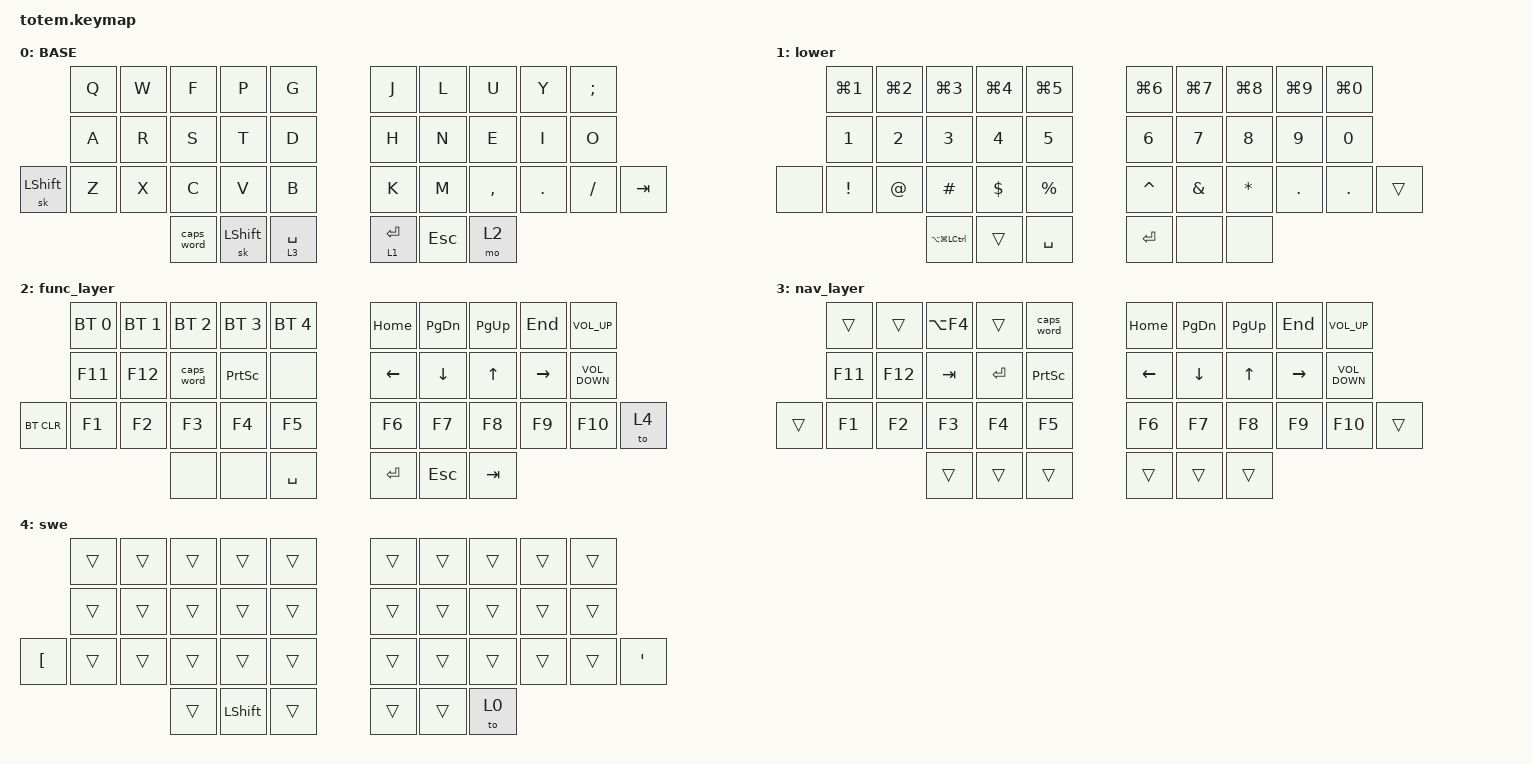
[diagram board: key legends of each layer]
//
//                                                        ▀▀▀▀▀     ▀▀▀▀▀          ▀▀█▀▀
//                                                        ▄▀▀▀▄  ▄  ▄▀▀▀▄  ▄  ▄▀▀▀▄  █  ▄▀▀▀▄
//                                                        █   █  █  █   █  █  █   █  █  █   █
//                                                         ▀▀▀   █   ▀▀▀   █   ▀▀▀   ▀   ▀▀▀
//                                                               █      ▄▄▄█▄▄▄    █   █  
//                                                               ▀      █  █  █     █▄█
//                                                             ▀▀▀▀▀    █  █  █      ▀
//                                                                      ▀  ▀  ▀
//
// ▄▄▄▄▄▄▄▄▄▄▄▄▄▄▄▄▄▄▄▄▄▄▄▄▄▄▄▄▄▄▄▄▄▄▄▄▄▄▄▄▄▄▄▄▄▄▄▄▄▄▄▄▄▄▄▄▄▄▄▄▄▄▄▄▄▄▄▄▄▄▄▄▄▄▄▄▄▄▄▄▄▄▄▄▄▄▄▄▄▄▄▄▄▄▄▄▄▄▄▄▄▄▄▄▄▄▄▄▄▄▄▄▄▄▄▄▄▄▄▄▄▄▄▄▄▄▄▄▄▄▄▄▄▄▄▄▄▄▄▄▄▄▄▄▄▄▄▄▄

#include <behaviors.dtsi>
#include <dt-bindings/zmk/bt.h>
#include <dt-bindings/zmk/keys.h>

#define BASE 0
#define NAV  1
#define SYM  2
#define ADJ  3
#define TVP1 4
#define TVP2 5

&mt {
    quick-tap-ms = <100>;
    global-quick-tap;
    flavor = "tap-preferred";
    tapping-term-ms = <170>;
};

&sk { quick-release; };

/ {
    combos {
        compatible = "zmk,combos";

        right_ctrl {
            bindings = <&sk RCTRL>;
            key-positions = <16 17>;
            require-prior-idle-ms = <200>;
        };

        right_gui {
            bindings = <&kp RIGHT_GUI>;
            key-positions = <17 18>;
            require-prior-idle-ms = <200>;
        };

        right_alt {
            bindings = <&kp RIGHT_ALT>;
            key-positions = <18 19>;
            require-prior-idle-ms = <200>;
        };

        backspace {
            bindings = <&kp BACKSPACE>;
            key-positions = <16 18>;
            require-prior-idle-ms = <150>;
        };

        left_control {
            bindings = <&sk LCTRL>;
            key-positions = <13 12>;
            require-prior-idle-ms = <200>;
        };

        left_gui {
            bindings = <&kp LEFT_GUI>;
            key-positions = <11 12>;
            require-prior-idle-ms = <200>;
        };

        left_alt {
            bindings = <&kp LEFT_ALT>;
            key-positions = <10 11>;
            require-prior-idle-ms = <200>;
        };

        delete {
            bindings = <&kp DELETE>;
            key-positions = <11 13>;
            require-prior-idle-ms = <200>;
        };

        sweChar1 {
            bindings = <&kp SQT>;
            key-positions = <22 23>;
        };

        sweChar2 {
            bindings = <&kp LEFT_BRACKET>;
            key-positions = <24 23>;
            require-prior-idle-ms = <0>;
        };

        rightBracket {
            bindings = <&kp RIGHT_BRACKET>;
            key-positions = <27 28>;
            require-prior-idle-ms = <200>;
        };

        minus {
            bindings = <&kp MINUS>;
            key-positions = <28 29>;
            require-prior-idle-ms = <20>;
        };

        left_bracket {
            bindings = <&kp LEFT_PARENTHESIS>;
            key-positions = <22 24>;
            require-prior-idle-ms = <0>;
        };

        right_parantheses {
            bindings = <&kp LS(RIGHT_PARENTHESIS)>;
            key-positions = <29 27>;
            require-prior-idle-ms = <200>;
        };

        left_brace {
            bindings = <&kp LEFT_BRACE>;
            key-positions = <24 12>;
        };

        right_brace {
            bindings = <&kp RIGHT_BRACE>;
            key-positions = <27 17>;
            require-prior-idle-ms = <200>;
        };

        equal {
            bindings = <&kp EQUAL>;
            key-positions = <22 12>;
            require-prior-idle-ms = <200>;
        };

        backslash {
            bindings = <&kp BACKSLASH>;
            key-positions = <17 29>;
            require-prior-idle-ms = <200>;
        };

        graveTilde {
            bindings = <&kp GRAVE>;
            key-positions = <29 30>;
            require-prior-idle-ms = <200>;
        };

        quote {
            bindings = <&kp DOUBLE_QUOTES>;
            key-positions = <1 2>;
            require-prior-idle-ms = <200>;
        };

        underscore {
            bindings = <&kp UNDERSCORE>;
            key-positions = <7 8>;
            require-prior-idle-ms = <50>;
        };

        tab {
            bindings = <&kp TAB>;
            key-positions = <2 3>;
            require-prior-idle-ms = <200>;
        };
    };

    macros {
        gif: gif {
            label = "giphy";
            compatible = "zmk,behavior-macro";
            #binding-cells = <0>;
            bindings =
                <&macro_press>,
                <&kp LSHFT>,
                <&macro_tap>,
                <&kp N2>,
                <&macro_release>,
                <&kp LSHFT>,
                <&macro_tap>,
                <&kp G &kp I &kp F>;
        };
    };

    behaviors {
        shiftCapsWord: shiftCapsWord {
            compatible = "zmk,behavior-tap-dance";
            label = "SHIFTCAPSWORD";
            #binding-cells = <0>;
            bindings = <&sk LEFT_SHIFT>, <&caps_word>;
        };

        navEnter: navEnter {
            compatible = "zmk,behavior-hold-tap";
            label = "NAVENTER";
            bindings = <&mo>, <&kp>;

            #binding-cells = <2>;
            tapping-term-ms = <500>;
            retro-tap;
        };

        urubLayerTap: urubLayerTap {
            compatible = "zmk,behavior-hold-tap";
            label = "URUBLAYERTAP";
            bindings = <&mo>, <&kp>;

            #binding-cells = <2>;
            tapping-term-ms = <250>;
            require-prior-idle-ms = <150>;
            flavor = "balanced";
        };

        tapDanceShift: tapDanceShift {
            compatible = "zmk,behavior-tap-dance";
            label = "TAPDANCESHIFT";
            #binding-cells = <0>;
            bindings = <&sk LEFT_SHIFT>, <&caps_word>;
        };

        shift_tab: shift_tab {
            compatible = "zmk,behavior-hold-tap";
            label = "SHIFT_TAB";
            bindings = <&kp>, <&kp>;

            #binding-cells = <2>;
            tapping-term-ms = <150>;
        };
    };

    keymap {
        compatible = "zmk,keymap";

        // ▄▄▄▄▄▄▄▄▄▄▄▄▄▄▄▄▄▄▄▄▄▄▄▄▄▄▄▄▄▄▄▄▄▄▄▄▄▄▄▄▄▄▄▄▄▄▄▄▄▄▄▄▄▄▄▄▄▄▄▄▄▄▄▄▄▄▄▄▄▄▄▄▄▄▄▄▄▄▄▄▄▄▄▄▄▄▄▄▄▄▄▄▄▄▄▄▄▄▄▄▄▄▄▄▄▄▄▄▄▄▄▄▄▄▄▄▄▄▄▄▄▄▄▄▄▄▄▄▄▄▄▄▄▄▄▄▄▄▄▄▄▄▄▄▄▄▄▄▄

        base_layer {
            // ┏━━━━━━━━━━━━━━━━━━━━━━━━━━━━━━━━━━━━━━━┓

            label = "BASE";

            // ┗━━━━━━━━━━━━━━━━━━━━━━━━━━━━━━━━━━━━━━━┛
            //             ┏━━━━━━━━━━━┳━━━━━━━━━━━┳━━━━━━━━━━━┳━━━━━━━━━━━┳━━━━━━━━━━━┓   ┏━━━━━━━━━━━┳━━━━━━━━━━━┳━━━━━━━━━━━┳━━━━━━━━━━━┳━━━━━━━━━━━┓
            //             ┃     Q     ┃     W     ┃     F     ┃     P     ┃     G     ┃   ┃     J     ┃     L     ┃     U     ┃     Y     ┃     ;     ┃
            //             ┣━━━━━━━━━━━╋━━━━━━━━━━━╋━━━━━━━━━━━╋━━━━━━━━━━━╋━━━━━━━━━━━┫   ┣━━━━━━━━━━━╋━━━━━━━━━━━╋━━━━━━━━━━━╋━━━━━━━━━━━╋━━━━━━━━━━━┫
            //             ┃     A     ┃     R     ┃     S     ┃     T     ┃     D     ┃   ┃     H     ┃     N     ┃     E     ┃     I     ┃     O     ┃
            // ┏━━━━━━━━━━━╋━━━━━━━━━━━╋━━━━━━━━━━━╋━━━━━━━━━━━╋━━━━━━━━━━━╋━━━━━━━━━━━┫   ┣━━━━━━━━━━━╋━━━━━━━━━━━╋━━━━━━━━━━━╋━━━━━━━━━━━╋━━━━━━━━━━━╋━━━━━━━━━━━┓
            // ┃     Q     ┃     Z     ┃     X     ┃     C     ┃     V     ┃     B     ┃   ┃     K     ┃     M     ┃     ,     ┃     .     ┃     /     ┃     \     ┃
            // ┗━━━━━━━━━━━┻━━━━━━━━━━━┻━━━━━━━━━━━╋━━━━━━━━━━━╋━━━━━━━━━━━╋━━━━━━━━━━━┫   ┣━━━━━━━━━━━╋━━━━━━━━━━━╋━━━━━━━━━━━╋━━━━━━━━━━━┻━━━━━━━━━━━┻━━━━━━━━━━━┛
            //                                     ┃    DEL    ┃    TAB    ┃    SPC    ┃   ┃   ENTER   ┃           ┃   BSPC    ┃
            //                                     ┗━━━━━━━━━━━┻━━━━━━━━━━━┻━━━━━━━━━━━┛   ┗━━━━━━━━━━━┻━━━━━━━━━━━┻━━━━━━━━━━━┛

            bindings = <
                &kp Q  &kp W  &kp F       &kp P           &kp G                    &kp J              &kp L       &kp U      &kp Y    &kp SEMI
                &kp A  &kp R  &kp S       &kp T           &kp D                    &kp H              &kp N       &kp E      &kp I    &kp O
&sk LEFT_SHIFT  &kp Z  &kp X  &kp C       &kp V           &kp B                    &kp K              &kp M       &kp COMMA  &kp DOT  &kp FSLH  &kp TAB
                              &caps_word  &sk LEFT_SHIFT  &urubLayerTap 3 SPACE    &navEnter 1 ENTER  &kp ESCAPE  &mo 2
            >;
        };

        // ▄▄▄▄▄▄▄▄▄▄▄▄▄▄▄▄▄▄▄▄▄▄▄▄▄▄▄▄▄▄▄▄▄▄▄▄▄▄▄▄▄▄▄▄▄▄▄▄▄▄▄▄▄▄▄▄▄▄▄▄▄▄▄▄▄▄▄▄▄▄▄▄▄▄▄▄▄▄▄▄▄▄▄▄▄▄▄▄▄▄▄▄▄▄▄▄▄▄▄▄▄▄▄▄▄▄▄▄▄▄▄▄▄▄▄▄▄▄▄▄▄▄▄▄▄▄▄▄▄▄▄▄▄▄▄▄▄▄▄▄▄▄▄▄▄▄▄▄▄

        number_layer {
            label = "lower";
            bindings = <
       &kp LG(NUMBER_1)  &kp LG(N2)    &kp LG(N3)                &kp LG(N4)    &kp LG(N5)      &kp LG(N6)    &kp LG(N7)     &kp LG(N8)    &kp LG(N9)    &kp LG(N0)
       &kp NUMBER_1      &kp NUMBER_2  &kp NUMBER_3              &kp NUMBER_4  &kp NUMBER_5    &kp NUMBER_6  &kp NUMBER_7   &kp NUMBER_8  &kp NUMBER_9  &kp NUMBER_0
&none  &kp EXCLAMATION   &kp AT        &kp HASH                  &kp DOLLAR    &kp PERCENT     &kp CARET     &kp AMPERSAND  &kp ASTERISK  &kp PERIOD    &kp PERIOD    &trans
                                       &kp LA(LG(LEFT_CONTROL))  &trans        &kp SPACE       &kp RET       &none          &none
            >;
        };

        // ▄▄▄▄▄▄▄▄▄▄▄▄▄▄▄▄▄▄▄▄▄▄▄▄▄▄▄▄▄▄▄▄▄▄▄▄▄▄▄▄▄▄▄▄▄▄▄▄▄▄▄▄▄▄▄▄▄▄▄▄▄▄▄▄▄▄▄▄▄▄▄▄▄▄▄▄▄▄▄▄▄▄▄▄▄▄▄▄▄▄▄▄▄▄▄▄▄▄▄▄▄▄▄▄▄▄▄▄▄▄▄▄▄▄▄▄▄▄▄▄▄▄▄▄▄▄▄▄▄▄▄▄▄▄▄▄▄▄▄▄▄▄▄▄▄▄▄▄▄
        // ▄▄▄▄▄▄▄▄▄▄▄▄▄▄▄▄▄▄▄▄▄▄▄▄▄▄▄▄▄▄▄▄▄▄▄▄▄▄▄▄▄▄▄▄▄▄▄▄▄▄▄▄▄▄▄▄▄▄▄▄▄▄▄▄▄▄▄▄▄▄▄▄▄▄▄▄▄▄▄▄▄▄▄▄▄▄▄▄▄▄▄▄▄▄▄▄▄▄▄▄▄▄▄▄▄▄▄▄▄▄▄▄▄▄▄▄▄▄▄▄▄▄▄▄▄▄▄▄▄▄▄▄▄▄▄▄▄▄▄▄▄▄▄▄▄▄▄▄▄

        func_layer {
            label = "func_layer";
            bindings = <
            &bt BT_SEL 0  &bt BT_SEL 1  &bt BT_SEL 2  &bt BT_SEL 3     &bt BT_SEL 4    &kp HOME  &kp PAGE_DOWN  &kp PAGE_UP  &kp END    &kp C_VOL_UP
            &kp F11       &kp F12       &caps_word    &kp PRINTSCREEN  &none           &kp LEFT  &kp DOWN       &kp UP       &kp RIGHT  &kp C_VOLUME_DOWN
&bt BT_CLR  &kp F1        &kp F2        &kp F3        &kp F4           &kp F5          &kp F6    &kp F7         &kp F8       &kp F9     &kp F10            &to 4
                                        &none         &none            &kp SPACE       &kp RET   &kp ESCAPE     &kp TAB
            >;
        };

        nav_layer {
            bindings = <
        &trans   &trans   &kp LA(F4)  &trans     &caps_word         &kp HOME  &kp PAGE_DOWN  &kp PAGE_UP   &kp END    &kp C_VOLUME_UP
        &kp F11  &kp F12  &kp TAB     &kp ENTER  &kp PRINTSCREEN    &kp LEFT  &kp DOWN       &kp UP_ARROW  &kp RIGHT  &kp C_VOLUME_DOWN
&trans  &kp F1   &kp F2   &kp F3      &kp F4     &kp F5             &kp F6    &kp F7         &kp F8        &kp F9     &kp F10            &trans
                          &trans      &trans     &trans             &trans    &trans         &trans
            >;
        };

        swe {
            bindings = <
                  &trans  &trans  &trans  &trans          &trans    &trans  &trans  &trans  &trans  &trans
                  &trans  &trans  &trans  &trans          &trans    &trans  &trans  &trans  &trans  &trans
&kp LEFT_BRACKET  &trans  &trans  &trans  &trans          &trans    &trans  &trans  &trans  &trans  &trans  &kp SQT
                                  &trans  &kp LEFT_SHIFT  &trans    &trans  &trans  &to 0
            >;
        };

        // ▄▄▄▄▄▄▄▄▄▄▄▄▄▄▄▄▄▄▄▄▄▄▄▄▄▄▄▄▄▄▄▄▄▄▄▄▄▄▄▄▄▄▄▄▄▄▄▄▄▄▄▄▄▄▄▄▄▄▄▄▄▄▄▄▄▄▄▄▄▄▄▄▄▄▄▄▄▄▄▄▄▄▄▄▄▄▄▄▄▄▄▄▄▄▄▄▄▄▄▄▄▄▄▄▄▄▄▄▄▄▄▄▄▄▄▄▄▄▄▄▄▄▄▄▄▄▄▄▄▄▄▄▄▄▄▄▄▄▄▄▄▄▄▄▄▄▄▄▄
        // ▄▄▄▄▄▄▄▄▄▄▄▄▄▄▄▄▄▄▄▄▄▄▄▄▄▄▄▄▄▄▄▄▄▄▄▄▄▄▄▄▄▄▄▄▄▄▄▄▄▄▄▄▄▄▄▄▄▄▄▄▄▄▄▄▄▄▄▄▄▄▄▄▄▄▄▄▄▄▄▄▄▄▄▄▄▄▄▄▄▄▄▄▄▄▄▄▄▄▄▄▄▄▄▄▄▄▄▄▄▄▄▄▄▄▄▄▄▄▄▄▄▄▄▄▄▄▄▄▄▄▄▄▄▄▄▄▄▄▄▄▄▄▄▄▄▄▄▄▄
    };
};
